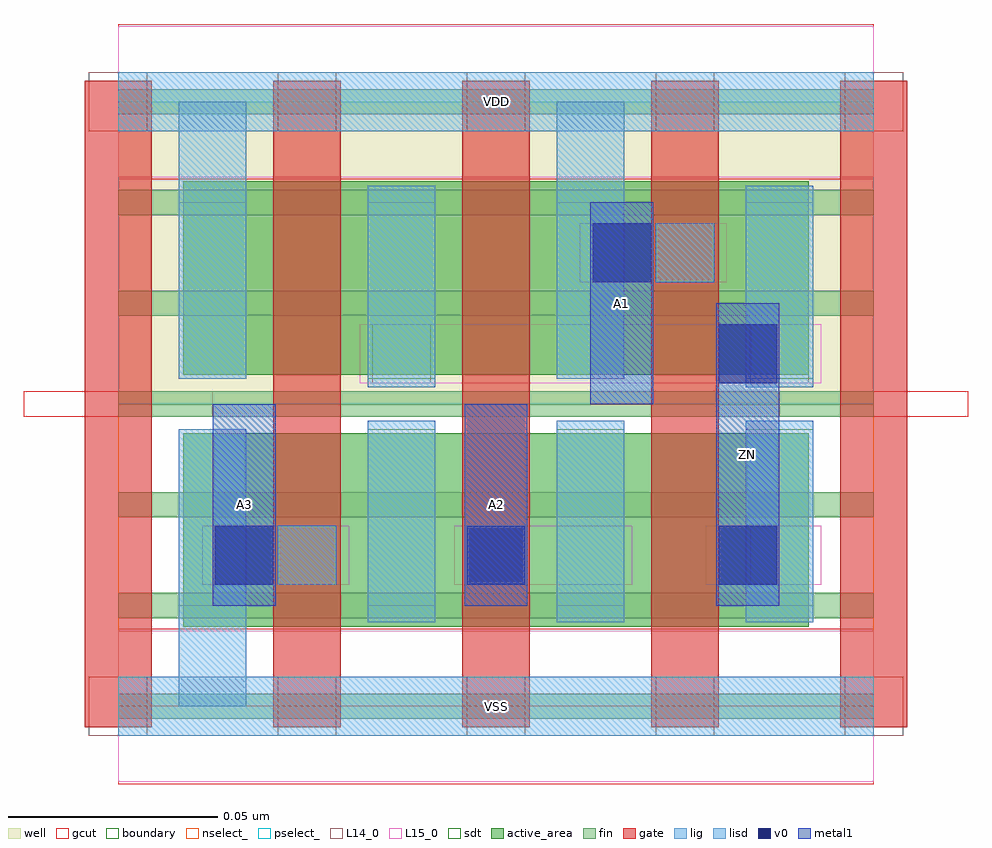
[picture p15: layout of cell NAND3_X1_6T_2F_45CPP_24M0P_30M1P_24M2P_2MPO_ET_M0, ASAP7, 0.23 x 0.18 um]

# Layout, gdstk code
import gdstk
lib = gdstk.Library(unit=1e-6, precision=2.5e-10)
def R(c, l, rs):  # rectangles x0, y0, x1, y1
    for r in rs: c.add(gdstk.rectangle(r[:2], r[2:], *l))
def A(c, l, x, y, w, h, nx, ny, dx, dy):  # array of equal rectangles
    R(c, l, [(x+i*dx, y+j*dy, x+i*dx+w, y+j*dy+h) for i in range(nx) for j in range(ny)])
well = (1, 0)
fin = (2, 0)
gate = (7, 0)
gcut = (10, 0)
active_area = (11, 0)
nselect_ = (12, 0)
pselect_ = (13, 0)
L14_0 = (14, 0)
L15_0 = (15, 0)
lig = (16, 0)
lisd = (17, 0)
v0 = (18, 0)
metal1 = (19, 0)
sdt = (88, 0)
boundary = (100, 0)

nand3_x1_6t_2f_45cpp_24m = lib.new_cell('NAND3_X1_6T_2F_45CPP_24M0P_30M1P_24M2P_2MPO_ET_M0')
R(nand3_x1_6t_2f_45cpp_24m, well, [(0,0.072,0.18,0.144)])
A(nand3_x1_6t_2f_45cpp_24m, fin, 0, -0.003, 0.18, 0.006, 1, 7, 0, 0.024)
A(nand3_x1_6t_2f_45cpp_24m, gate, -0.008, -0.005, 0.016, 0.154, 5, 1, 0.045, 0)
R(nand3_x1_6t_2f_45cpp_24m, gcut, [(0,-0.0185,0.18,0.0185), (-0.0225,0.069,0.0225,0.075), (0.1575,0.069,0.2025,0.075), (0,0.1255,0.18,0.1625)])
A(nand3_x1_6t_2f_45cpp_24m, active_area, 0.0155, 0.019, 0.059, 0.046, 3, 2, 0.045, 0.06)
R(nand3_x1_6t_2f_45cpp_24m, nselect_, [(0,0,0.18,0.072)])
R(nand3_x1_6t_2f_45cpp_24m, pselect_, [(0,0.072,0.18,0.144)])
A(nand3_x1_6t_2f_45cpp_24m, L14_0, -0.007, -0.007, 0.014, 0.014, 5, 2, 0.045, 0.144)
R(nand3_x1_6t_2f_45cpp_24m, L14_0, [(0.038,0.029,0.052,0.043), (0.083,0.029,0.097,0.043), (0.1505,0.029,0.1645,0.043), (0.0605,0.077,0.0745,0.091), (0.1505,0.077,0.1645,0.091), (0.128,0.101,0.142,0.115)])
R(nand3_x1_6t_2f_45cpp_24m, L15_0, [(0,-0.018,0.18,0.018), (0.02,0.029,0.055,0.043), (0.08,0.029,0.1225,0.043), (0.14,0.029,0.1675,0.043), (0.0575,0.077,0.1675,0.091), (0.11,0.101,0.145,0.115), (0,0.126,0.18,0.162)])
R(nand3_x1_6t_2f_45cpp_24m, lig, [(0,-0.007,0.18,0.007), (0.038,0.029,0.052,0.043), (0.083,0.029,0.097,0.043), (0.128,0.101,0.142,0.115), (0,0.137,0.18,0.151)])
A(nand3_x1_6t_2f_45cpp_24m, lisd, 0.0595, 0.02, 0.016, 0.048, 3, 1, 0.045, 0)
R(nand3_x1_6t_2f_45cpp_24m, lisd, [(0.0145,0,0.0305,0.066), (0.0595,0.076,0.0755,0.124), (0.1495,0.076,0.1655,0.124), (0.0145,0.078,0.0305,0.144), (0.1045,0.078,0.1205,0.144)])
A(nand3_x1_6t_2f_45cpp_24m, v0, 0.023, 0.029, 0.014, 0.014, 3, 1, 0.06, 0)
R(nand3_x1_6t_2f_45cpp_24m, v0, [(0.143,0.077,0.157,0.091), (0.113,0.101,0.127,0.115)])
R(nand3_x1_6t_2f_45cpp_24m, metal1, [(0.0225,0.024,0.0375,0.072), (0.0825,0.024,0.0975,0.072), (0.1425,0.024,0.1575,0.096), (0.1125,0.072,0.1275,0.12)])
A(nand3_x1_6t_2f_45cpp_24m, sdt, 0.0145, 0.024, 0.016, 0.042, 4, 2, 0.045, 0.054)
R(nand3_x1_6t_2f_45cpp_24m, boundary, [(0,0,0.18,0.144)])
nand3_x1_6t_2f_45cpp_24m.add(gdstk.Label('ZN', (0.15,0.06), layer=19, texttype=251))
nand3_x1_6t_2f_45cpp_24m.add(gdstk.Label('A1', (0.12,0.096), layer=19, texttype=251))
nand3_x1_6t_2f_45cpp_24m.add(gdstk.Label('A2', (0.09,0.048), layer=19, texttype=251))
nand3_x1_6t_2f_45cpp_24m.add(gdstk.Label('A3', (0.03,0.048), layer=19, texttype=251))
nand3_x1_6t_2f_45cpp_24m.add(gdstk.Label('VDD', (0.09,0.144), layer=15, texttype=251))
nand3_x1_6t_2f_45cpp_24m.add(gdstk.Label('VSS', (0.09,0), layer=15, texttype=251))
nand3_x1_6t_2f_45cpp_24m.add(gdstk.Label('VDD', (0.09,0.144), layer=1, texttype=251))
nand3_x1_6t_2f_45cpp_24m.add(gdstk.Label('VSS', (0.09,0), layer=3, texttype=251))

lib.write_gds('NAND3_X1_6T_2F_45CPP_24M0P_30M1P_24M2P_2MPO_ET_M0.gds')
